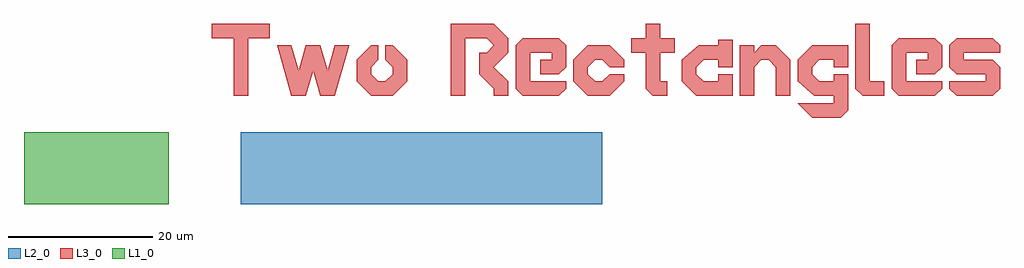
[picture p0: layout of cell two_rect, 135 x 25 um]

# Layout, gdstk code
import gdstk
lib = gdstk.Library(unit=1e-6, precision=1e-09)
def R(c, l, rs):  # rectangles x0, y0, x1, y1
    for r in rs: c.add(gdstk.rectangle(r[:2], r[2:], *l))
def P(c, l, *ps):  # polygons
    for p in ps: c.add(gdstk.Polygon(p, *l))
L1_0 = (1, 0)
L2_0 = (2, 0)
L3_0 = (3, 0)

rectangle_gdsfactorypco_ = lib.new_cell('rectangle_gdsfactorypco_512b687e')
R(rectangle_gdsfactorypco_, L1_0, [(0,0,20,10)])

c_rectangle_gdsfactorypco_ = lib.new_cell('rectangle_gdsfactorypco_ba6f854c')
R(c_rectangle_gdsfactorypco_, L2_0, [(0,0,50,10)])

text_gdsfactorypcompone_ = lib.new_cell('text_gdsfactorypcompone_ac7fef0c')
P(text_gdsfactorypcompone_, L3_0, [(12,0),(10,7),(12,7),(13,3.5),(14,7),(16,7),(17,3.5),(18,7),(20,7),(18,0),(16,0),(15,3.5),(14,0)],
  [(23,0),(21,2),(21,5),(23,7),(24,7),(24,5),(23,4),(23,3),(24,2),(25,2),(26,3),(26,4),(25,5),(25,7),(26,7),(28,5),(28,2),(26,0)],
  [(53,0),(51,2),(51,5),(53,7),(56,7),(58,5),(58,4),(56,4),(55,5),(54,5),(53,4),(53,3),(54,2),(55,2),(56,3),(58,3),(58,2),(56,0)],
  [(74,0),(74,7),(76,7),(76,6),(77,7),(79,7),(81,5),(81,0),(79,0),(79,4),(78,5),(77,5),(76,4),(76,0)],
  [(84,-3),(82,-1),(87,-1),(87,0),(84.34,0),(82,2),(82,5),(84,7),(89,7),(89,4),(87,4),(87,5),(85,5),(84,4),(84,3),(85,2),(87,2),(87,3),(89,3),(89,-2),(88,-3)],
  [(68,0),(66,2),(66,5),(68.34,7),(71,7),(71,7.75),(73,7.75),(73,4),(71,4),(71,5),(69,5),(68,4),(68,3),(69,2),(71,2),(71,3),(73,3),(73,0)],
  [(44,0),(43,1),(43,7),(44,8),(49,8),(50,7),(50,4),(49,3),(46.4,3),(46.4,5),(48,5),(48,6),(45,6),(45,2),(50,2),(50,1),(49,0)],
  [(96,0),(95,1),(95,7),(96,8),(101,8),(102,7),(102,4),(101,3),(98.4,3),(98.4,5),(100,5),(100,6),(97,6),(97,2),(102,2),(102,1),(101,0)],
  [(104,0),(103,1),(103,2),(108,2),(108,3),(104,3),(103,4),(103,7),(104,8),(109,8),(110,7),(110,6),(105,6),(105,5),(109,5),(110,4),(110,1),(109,0)],
  [(4,0),(4,8),(1,8),(1,10),(9,10),(9,8),(6,8),(6,0)],
  [(34,0),(34,10),(40,10),(42,8),(42,6),(40,4),(42,2),(42,0),(40,0),(40,1),(38,3),(38,6),(39,6),(40,7),(39,8),(36,8),(36,0)],
  [(62,0),(61,1),(61,6),(59,6),(59,8),(61,8),(61,10),(63,10),(63,8),(65,8),(65,6),(63,6),(63,2),(64,2),(64,0)],
  [(91,0),(90,1),(90,10),(92,10),(92,2),(94,2),(94,0)])

two_rect = lib.new_cell('two_rect')
two_rect.add(gdstk.Reference(rectangle_gdsfactorypco_, (0,0)))
two_rect.add(gdstk.Reference(c_rectangle_gdsfactorypco_, (30,0)))
two_rect.add(gdstk.Reference(text_gdsfactorypcompone_, (25,15)))

lib.write_gds('two_rect.gds')
